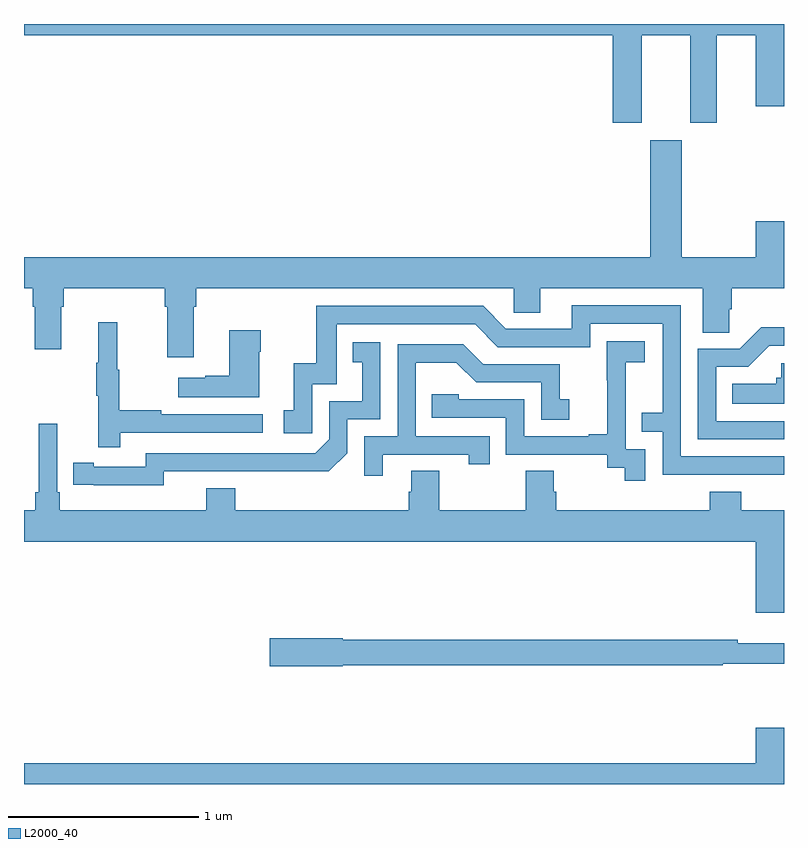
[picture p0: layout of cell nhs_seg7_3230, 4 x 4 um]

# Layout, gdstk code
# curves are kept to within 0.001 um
import gdstk
lib = gdstk.Library(unit=1e-6, precision=1e-09)
def P(c, l, *ps):  # polygons
    for p in ps: c.add(gdstk.Polygon(p, *l))
L2000_40 = (2000, 40)

nhs_seg7_3230 = lib.new_cell('nhs_seg7_3230')
P(nhs_seg7_3230, L2000_40, [(320.251,1009.94),(320.507,1009.94),(320.507,1009.479),(320.647,1009.479),(320.647,1009.94),(320.852,1009.94),(320.852,1009.566),(321,1009.566),(321,1010),(317,1010),(317,1009.94),(320.099,1009.94),(320.099,1009.479),(320.251,1009.479)],
  [(317.893,1008.512),(317.906,1008.512),(317.906,1008.608),(319.578,1008.608),(319.578,1008.481),(319.717,1008.481),(319.717,1008.608),(320.573,1008.608),(320.573,1008.376),(320.712,1008.376),(320.712,1008.499),(320.726,1008.499),(320.726,1008.608),(321,1008.608),(321,1008.961),(320.852,1008.961),(320.852,1008.772),(320.461,1008.772),(320.461,1009.387),(320.297,1009.387),(320.297,1008.772),(317,1008.772),(317,1008.608),(317.045,1008.608),(317.045,1008.512),(317.057,1008.512),(317.057,1008.288),(317.197,1008.288),(317.197,1008.512),(317.21,1008.512),(317.21,1008.608),(317.741,1008.608),(317.741,1008.512),(317.753,1008.512),(317.753,1008.246),(317.893,1008.246)],
  [(321,1007.724),(320.457,1007.724),(320.457,1008.519),(319.883,1008.519),(319.883,1008.396),(319.536,1008.396),(319.416,1008.516),(318.537,1008.516),(318.537,1008.214),(318.419,1008.214),(318.419,1007.967),(318.366,1007.967),(318.366,1007.847),(318.516,1007.847),(318.516,1008.105),(318.645,1008.105),(318.645,1008.42),(319.374,1008.42),(319.494,1008.3),(319.98,1008.3),(319.98,1008.423),(320.361,1008.423),(320.361,1007.954),(320.251,1007.954),(320.251,1007.853),(320.361,1007.853),(320.361,1007.628),(321,1007.627)],
  [(317.507,1007.85),(318.256,1007.85),(318.256,1007.946),(317.723,1007.946),(317.723,1007.966),(317.5,1007.966),(317.5,1008.18),(317.492,1008.18),(317.492,1008.43),(317.39,1008.43),(317.39,1008.217),(317.379,1008.217),(317.379,1008.043),(317.39,1008.043),(317.39,1007.772),(317.507,1007.772)],
  [(321,1007.91),(320.643,1007.91),(320.643,1008.195),(320.812,1008.195),(320.923,1008.306),(321,1008.306),(321,1008.404),(320.879,1008.404),(320.766,1008.291),(320.547,1008.291),(320.547,1007.814),(321,1007.814)],
  [(318.238,1008.275),(318.246,1008.275),(318.246,1008.388),(318.08,1008.388),(318.08,1008.149),(317.954,1008.149),(317.954,1008.139),(317.811,1008.139),(317.811,1008.035),(318.238,1008.035)],
  [(320.271,1007.763),(320.166,1007.763),(320.166,1007.993),(320.168,1007.993),(320.168,1008.221),(320.266,1008.221),(320.266,1008.331),(320.068,1008.331),(320.068,1008.125),(320.069,1008.125),(320.069,1007.842),(319.973,1007.842),(319.973,1007.829),(319.632,1007.829),(319.632,1008.024),(319.287,1008.024),(319.287,1008.051),(319.147,1008.051),(319.147,1007.928),(319.536,1007.928),(319.536,1007.733),(320.07,1007.733),(320.07,1007.665),(320.163,1007.665),(320.163,1007.595),(320.271,1007.595)],
  [(317.736,1007.646),(318.604,1007.645),(318.702,1007.742),(318.702,1007.919),(318.876,1007.919),(318.876,1008.325),(318.73,1008.325),(318.73,1008.219),(318.779,1008.219),(318.779,1008.015),(318.606,1008.015),(318.606,1007.814),(318.534,1007.742),(317.64,1007.742),(317.64,1007.67),(317.368,1007.67),(317.368,1007.69),(317.26,1007.69),(317.26,1007.574),(317.736,1007.573)],
  [(318.889,1007.733),(319.34,1007.733),(319.34,1007.682),(319.451,1007.682),(319.451,1007.829),(319.062,1007.829),(319.062,1008.218),(319.276,1008.218),(319.38,1008.114),(319.722,1008.114),(319.722,1007.916),(319.87,1007.916),(319.87,1008.025),(319.821,1008.025),(319.821,1008.21),(319.417,1008.21),(319.312,1008.315),(318.966,1008.315),(318.966,1007.829),(318.792,1007.829),(318.792,1007.622),(318.889,1007.622)],
  [(321,1008.214),(320.985,1008.214),(320.985,1008.138),(320.959,1008.138),(320.959,1008.106),(320.728,1008.106),(320.728,1008.002),(321,1008.002)],
  [(321,1007.44),(320.774,1007.44),(320.774,1007.539),(320.609,1007.539),(320.609,1007.44),(319.802,1007.44),(319.802,1007.538),(319.789,1007.538),(319.789,1007.648),(319.642,1007.648),(319.642,1007.44),(319.185,1007.44),(319.185,1007.648),(319.037,1007.648),(319.037,1007.538),(319.025,1007.538),(319.025,1007.44),(318.113,1007.44),(318.113,1007.557),(317.96,1007.557),(317.96,1007.44),(317.189,1007.44),(317.189,1007.536),(317.175,1007.536),(317.175,1007.896),(317.078,1007.896),(317.078,1007.536),(317.059,1007.536),(317.059,1007.44),(317,1007.44),(317,1007.276),(320.852,1007.276),(320.852,1006.902),(321,1006.902)],
  [(318.678,1006.624),(320.678,1006.624),(320.678,1006.632),(321,1006.632),(321,1006.741),(320.756,1006.741),(320.756,1006.76),(318.678,1006.76),(318.678,1006.766),(318.294,1006.766),(318.294,1006.619),(318.678,1006.619)],
  [(321,1006.297),(320.852,1006.297),(320.852,1006.108),(317,1006.108),(317,1006),(321,1006)])

lib.write_gds('nhs_seg7_3230.gds')
